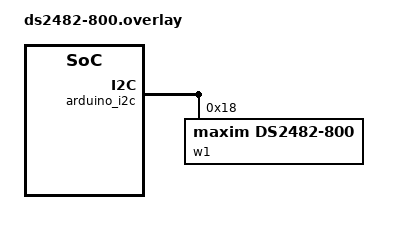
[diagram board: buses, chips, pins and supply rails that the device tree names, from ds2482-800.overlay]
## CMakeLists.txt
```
cmake_minimum_required(VERSION 3.28.0)
find_package(Zephyr REQUIRED HINTS $ENV{ZEPHYR_BASE})
project(w1-scanner)

target_sources(app PRIVATE src/main.c)
```

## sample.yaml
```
sample:
  name: 1-Wire scanner sample

common:
  harness: console
  tags:
    - w1

tests:
  sample.drivers.w1.scanner.ds2482-800:
    depends_on: arduino_i2c
    extra_args: DTC_OVERLAY_FILE=ds2482-800.overlay
    platform_allow: nrf52840dk/nrf52840
    harness_config:
      type: one_line
      regex:
        - "Number of devices found on bus: .*"
      fixture: w1_scanner_ds2482_800
  sample.drivers.w1.scanner.ds2484:
    depends_on: arduino_i2c
    extra_args: DTC_OVERLAY_FILE=ds2484.overlay
    platform_allow:
      - nrf52840dk/nrf52840
      - nucleo_g0b1re
    harness_config:
      type: one_line
      regex:
        - "Number of devices found on bus: .*"
      fixture: w1_scanner_ds2484
  sample.drivers.w1.scanner.ds2485:
    depends_on: arduino_i2c
    extra_args: DTC_OVERLAY_FILE=ds2485.overlay
    platform_allow:
      - nrf52840dk/nrf52840
      - nucleo_g0b1re
    harness_config:
      type: one_line
      regex:
        - "Number of devices found on bus: .*"
      fixture: w1_scanner_ds2485
  sample.drivers.w1.scanner.w1_serial:
    depends_on:
      - arduino_serial
    extra_args: DTC_OVERLAY_FILE=w1_serial.overlay
    platform_allow:
      - nrf52840dk/nrf52840
      - nucleo_g0b1re
    harness_config:
      type: one_line
      regex:
        - "Number of devices found on bus: .*"
      fixture: w1_scanner_w1_serial
  sample.drivers.w1.scanner.max:
    depends_on: w1
    platform_allow:
      - max32655evkit/max32655/m4
      - max32666evkit/max32666/cpu0
      - max32666fthr/max32666/cpu0
      - max32690evkit/max32690/m4
      - max78000evkit/max78000/m4
      - max78000fthr/max78000/m4
      - max78002evkit/max78002/m4
    integration_platforms:
      - max32655evkit/max32655/m4
    harness_config:
      type: one_line
      regex:
        - "Number of devices found on bus: .*"
      fixture: w1_scanner_w1_max
  sample.drivers.w1.scanner.shields:
    platform_allow:
      - adafruit_qt_py_rp2040/rp2040
    integration_platforms:
      - adafruit_qt_py_rp2040/rp2040
    extra_args:
      - platform:adafruit_qt_py_rp2040/rp2040:SHIELD="adafruit_ds2484"
    harness_config:
      type: one_line
      regex:
        - "Number of devices found on bus: .*"
```

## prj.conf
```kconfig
CONFIG_LOG=y
CONFIG_W1=y
```

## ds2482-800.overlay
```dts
&arduino_i2c {
	status = "okay";

	w1@18 {
		compatible = "maxim,ds2482-800";
		reg = <0x18>;

		#address-cells = <1>;
		#size-cells = <0>;

		w1: ch@0 {
			compatible = "maxim,ds2482-800-channel";
			reg = <0>;
		};
	};
};
```

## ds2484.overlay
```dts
&arduino_i2c {
	status = "okay";

	w1: w1@18 {
		compatible = "maxim,ds2484";
		reg = <0x18>;
	};
};
```

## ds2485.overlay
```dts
&arduino_i2c {
	status = "okay";

	w1: w1@40 {
		compatible = "maxim,ds2485";
		reg = <0x40>;
		switching-threshold = "medium";
		active-pull-threshold = "low";
		weak-pullup = "1000";
	};
};
```

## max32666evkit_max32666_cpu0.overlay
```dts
/*
 * Copyright (c) 2025 Analog Devices, Inc.
 *
 * SPDX-License-Identifier: Apache-2.0
 */

&owm_io_p0_4 {
	power-source=<MAX32_VSEL_VDDIOH>;
};

&owm_pe_p0_5 {
	power-source=<MAX32_VSEL_VDDIOH>;
};

&w1 {
	status = "okay";
	internal-pullup = <1>;
	external-pullup = <0>;
	long-line-mode = <0>;
};
```

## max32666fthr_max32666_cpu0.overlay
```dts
/*
 * Copyright (c) 2025 Analog Devices, Inc.
 *
 * SPDX-License-Identifier: Apache-2.0
 */

&owm_io_p0_12 {
	power-source=<MAX32_VSEL_VDDIOH>;
};

&owm_pe_p0_13 {
	power-source=<MAX32_VSEL_VDDIOH>;
};

&w1 {
	status = "okay";
	internal-pullup = <1>;
	external-pullup = <0>;
	long-line-mode = <0>;
};
```

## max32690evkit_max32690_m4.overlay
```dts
/*
 * Copyright (c) 2025 Analog Devices, Inc.
 *
 * SPDX-License-Identifier: Apache-2.0
 */

&owm_io_p0_8 {
	power-source=<MAX32_VSEL_VDDIOH>;
};

&owm_pe_p0_7 {
	power-source=<MAX32_VSEL_VDDIOH>;
};

&w1 {
	status = "okay";
	internal-pullup = <1>;
	external-pullup = <0>;
	long-line-mode = <0>;
};
```

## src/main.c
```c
/*
 * Copyright (c) 2022 Caspar Friedrich <c.s.w.friedrich@gmail.com>
 *
 * SPDX-License-Identifier: Apache-2.0
 */

#include <zephyr/device.h>
#include <zephyr/devicetree.h>
#include <zephyr/drivers/w1.h>
#include <zephyr/logging/log.h>

LOG_MODULE_REGISTER(main, CONFIG_LOG_DEFAULT_LEVEL);

void w1_search_callback(struct w1_rom rom, void *user_data)
{
	LOG_INF("Device found; family: 0x%02x, serial: 0x%016llx", rom.family,
		w1_rom_to_uint64(&rom));
}

int main(void)
{
	const struct device *const dev = DEVICE_DT_GET(DT_NODELABEL(w1));

	if (!device_is_ready(dev)) {
		LOG_ERR("Device not ready");
		return 0;
	}

	int num_devices = w1_search_rom(dev, w1_search_callback, NULL);

	LOG_INF("Number of devices found on bus: %d", num_devices);
	return 0;
}
```
